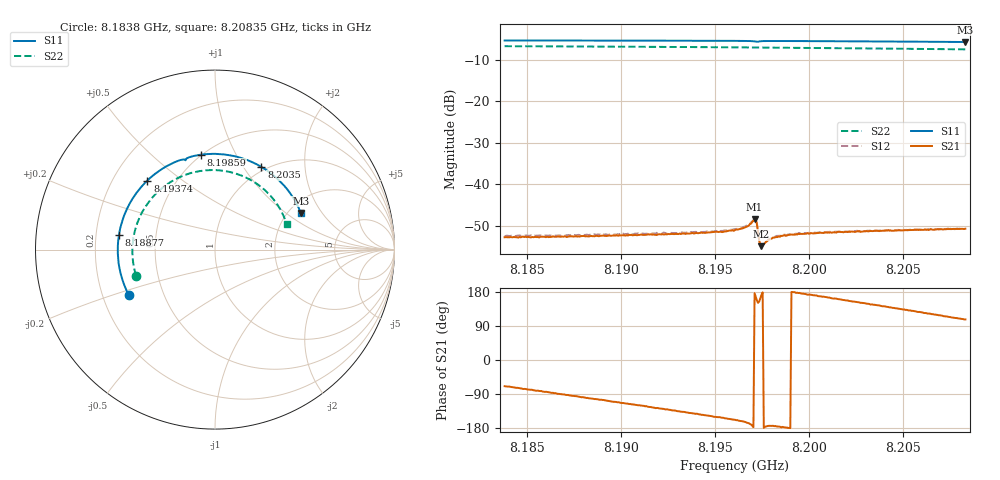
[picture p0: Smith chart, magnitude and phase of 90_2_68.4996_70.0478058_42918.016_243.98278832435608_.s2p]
#  HZ  S  RI  R  50.00
! Rohde & Schwarz Vector Network Analyzer
! Rohde-Schwarz,ZNB20-2Port,1311601062101988,3.16
! Created: UTC 3/20/2024, 5:07:46 PM
! freq[Hz]  re:S11  im:S11  re:S21  im:S21  re:S12  im:S12  re:S22  im:S22
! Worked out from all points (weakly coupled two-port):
!   401 points, 8.1838 GHz to 8.20835 GHz, reference 50 ohm
!   highest |S21| = -48.51 dB at 8.19712 GHz (marker M1); lowest = -55.0 dB at 8.19748 GHz (marker M2)
!   lowest |S11| = -5.7 dB at 8.20835 GHz (marker M3), VSWR 3.17, Z = 116 + j65.1 ohm
!   |S11| at or under -10 dB: nowhere
!   |S22| runs from -7.5 to -6.7 dB; largest |S21 - S12| = 0.00019
!   S11 on the Smith chart (normalised r, x): 8.1838 GHz: 0.31, -0.23; 8.18877 GHz: 0.30, +0.07; 8.19374 GHz: 0.35, +0.38; 8.19859 GHz: 0.50, +0.74; 8.2035 GHz: 0.94, +1.21; 8.20835 GHz: 2.32, +1.30
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8.1838e9  -0.4791 -0.2554  0.000815 -0.00214  0.000808 -0.00222  -0.44 -0.1443
8.185947e9  -0.53 -0.1152  0.00023 -0.00229  0.000255 -0.00239  -0.46 -0.0267
8.187911e9  -0.5413 0.0211  -0.000344 -0.00234  -0.000409 -0.00245  -0.4515 0.0819
8.18877e9  -0.5352 0.081  -0.000562 -0.00229  -0.000624 -0.00241  -0.4396 0.1281
8.190366e9  -0.5067 0.1887  -0.00102 -0.00217  -0.00114 -0.00225  -0.4051 0.2096
8.192023e9  -0.454 0.292  -0.00152 -0.00196  -0.00158 -0.00199  -0.3529 0.2856
8.193741e9  -0.377 0.3848  -0.00195 -0.00163  -0.0021 -0.00162  -0.2836 0.3517
8.196073e9  -0.2422 0.4789  -0.00258 -0.00106  -0.0027 -0.000962  -0.1697 0.4148
8.196625e9  -0.2054 0.4948  -0.00289 -0.000853  -0.003 -0.00074  -0.1403 0.4248
8.197116e9  -0.1681 0.5012  -0.00374 0.000237  -0.00378 0.000379  -0.1132 0.4317
8.197177e9  -0.1647 0.4992  -0.0036 0.000832  -0.00364 0.000977  -0.1099 0.4324
8.197423e9  -0.1597 0.5061  -0.00176 0.000543  -0.00175 0.000602  -0.0967 0.4352
8.197484e9  -0.1556 0.5091  -0.00177 0.000241  -0.00178 0.000334  -0.0933 0.4359
8.197607e9  -0.1468 0.5133  -0.00189 -2.93e-05  -0.00192 3.35e-05  -0.0865 0.4372
8.197975e9  -0.12 0.5212  -0.00218 -0.000232  -0.00221 -0.000149  -0.0659 0.4403
8.198589e9  -0.0763 0.5291  -0.00236 -0.000146  -0.0024 -4.22e-05  -0.0311 0.4428
8.200184e9  0.0367 0.5316  -0.00252 0.000377  -0.00253 0.00049  0.0593 0.4369
8.201903e9  0.1555 0.5073  -0.00246 0.000986  -0.00243 0.0011  0.1535 0.4098
8.203498e9  0.2583 0.4612  -0.00226 0.00154  -0.00219 0.00163  0.2339 0.3659
8.204296e9  0.3054 0.43  -0.00207 0.0018  -0.00204 0.00187  0.2706 0.3377
8.206444e9  0.4129 0.3223  -0.00152 0.00239  -0.00142 0.00246  0.3526 0.2425
8.208346e9  0.4782 0.2044  -0.000853 0.00277  -0.000753 0.00278  0.4 0.1404
